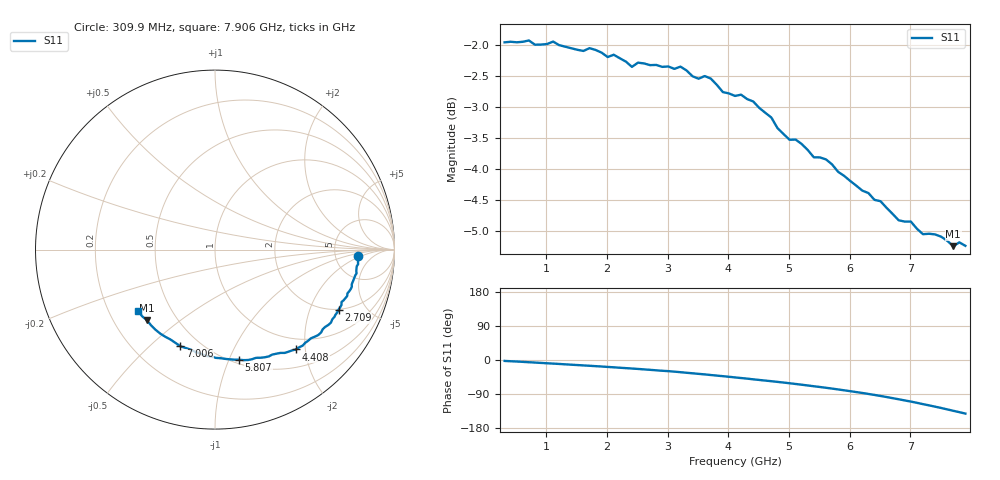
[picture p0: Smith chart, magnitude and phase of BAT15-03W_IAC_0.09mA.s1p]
! Infineon Technologies  Discrete & RF Semiconductors
! BAT15-03W-E6327
! IAC = 0.09 mA
! One-Port S-Parameters
# Hz  S  MA  R  50
!f  S11
!Hz  Mag  Ang
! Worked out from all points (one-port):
!   77 points, 309.9 MHz to 7.906 GHz, reference 50 ohm
!   lowest |S11| = -5.2 dB at 7.706 GHz (marker M1), VSWR 3.41, Z = 17 - j19.1 ohm
!   |S11| at or under -10 dB: nowhere
!   S11 on the Smith chart (normalised r, x): 309.9 MHz: 8.63, -1.61; 2.709 GHz: 1.98, -3.20; 4.408 GHz: 0.80, -1.82; 5.807 GHz: 0.54, -1.09; 7.006 GHz: 0.39, -0.63; 7.906 GHz: 0.33, -0.32
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3.0985e8  0.7987 -2.4
1.10945e9  0.7998 -9.5
1.30935e9  0.7922 -11.4
1.6092e9  0.786 -14.3
1.70915e9  0.7901 -15.2
2.2089e9  0.7754 -20.4
2.4088e9  0.763 -22.5
2.50875e9  0.7691 -23.6
2.70865e9  0.7655 -26.0
3.2084e9  0.7633 -32.1
3.50825e9  0.7464 -36.6
3.6082e9  0.7501 -38.0
4.10795e9  0.7228 -46.0
4.4078e9  0.7155 -51.0
4.70765e9  0.6943 -56.0
5.0075e9  0.6662 -61.4
5.10745e9  0.6664 -63.2
5.4073e9  0.6448 -69.3
5.6072e9  0.6423 -73.3
5.8071e9  0.6276 -77.7
6.007e9  0.617 -82.3
6.50675e9  0.5941 -94.9
6.8066e9  0.5734 -103.6
7.0065e9  0.572 -109.7
7.2064e9  0.5588 -116.5
7.4063e9  0.5585 -123.1
7.70615e9  0.5464 -134.0
7.90605e9  0.5468 -141.4
